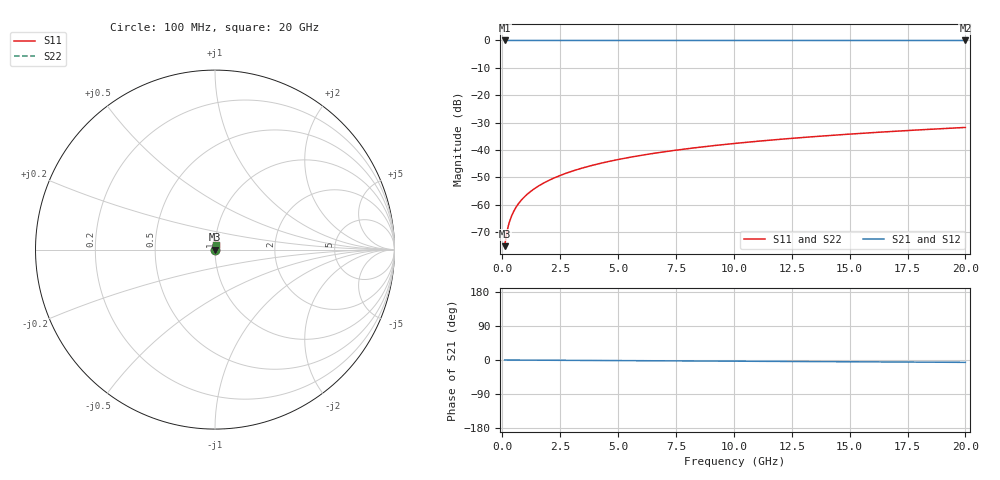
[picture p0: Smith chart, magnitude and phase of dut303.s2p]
! Touchstone file exported from HFSS 2026.1.0
!  File:  C:/ffzhzh/LocalFiles/Ansys_Project_Files/temp_train_TSV_303_1783017904_55676.aedt
!  Generated:  02:46:50 AM Jul  3, 2026
!  Design:  TSV
!  Project:  temp_train_TSV_303_1783017904_55676
! Variables:
!  h_bsmrdl = 2um
!  h_ox = 20um
!  h_rdl = 5um
!  h_sub = 52.73um
!  h_tmrdl = 5um
!  h_tsv = 52.73um
!  h_via = 3um
!  l_bsmrdl = 300um
!  l_sub = 422.56um
!  l_tmrdl = 200um
!  m_sub = 200um
!  pitch = 58.5um
!  r_tsv = 11.28um
!  s_tmrdl = 10um
!  w_bsmrdl = 18um
!  w_sub = 500um
!  w_tmrdl = 12um
!  x_tsv_center1 = 206um
!  x_tsv_center2 = 524um
!  x_tsv_center3 = 736um
!  x_tsv_center4 = 1054um
!  x_tsv_center5 = 1266um
!  x_tsv_center6 = 1584um
# GHz S MA R 50.000000
! Terminal data exported
! Port[1] = TSV1_1_T1
! Port[2] = TSV1_1_T2
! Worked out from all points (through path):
!   200 points, 100 MHz to 20 GHz, reference 50 ohm
!   highest |S21| = 0.00 dB at 100 MHz (marker M1); lowest = 0.0 dB at 20 GHz (marker M2)
!   lowest |S11| = -75.1 dB at 100 MHz (marker M3), VSWR 1.00, Z = 50 + j0.0158 ohm
!   |S11| at or under -10 dB: start of sweep to end of sweep
!   |S22| runs from -75.1 to -31.8 dB; largest |S21 - S12| = 4.2e-15
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0.1  0.0001759 63.7  0.9999 -0.0  0.9999 -0.0  0.0001759 63.7
! Gamma 0 0 0 0
! Port Impedance 50 0 50 0
0.2  0.000325 74.6  0.9999 -0.1  0.9999 -0.1  0.000325 74.6
0.3  0.0004762 78.1  0.9999 -0.1  0.9999 -0.1  0.0004762 78.1
0.4  0.0006249 79.5  0.9999 -0.1  0.9999 -0.1  0.0006249 79.5
0.5  0.0007701 80.3  0.9999 -0.2  0.9999 -0.2  0.0007701 80.3
0.6  0.0009121 80.8  0.9999 -0.2  0.9999 -0.2  0.0009121 80.8
0.7  0.001051 81.2  0.9998 -0.2  0.9998 -0.2  0.001051 81.2
0.9  0.001323 81.7  0.9998 -0.3  0.9998 -0.3  0.001323 81.7
1.1  0.001591 82.2  0.9998 -0.3  0.9998 -0.3  0.001591 82.2
1.3  0.001855 82.7  0.9998 -0.4  0.9998 -0.4  0.001855 82.7
1.6  0.002251 83.3  0.9998 -0.5  0.9998 -0.5  0.002251 83.3
1.9  0.002646 83.7  0.9997 -0.6  0.9997 -0.6  0.002646 83.7
2.6  0.003567 84.4  0.9997 -0.8  0.9997 -0.8  0.003567 84.4
3.5  0.004749 84.8  0.9996 -1.1  0.9996 -1.1  0.004749 84.8
4.2  0.005665 84.9  0.9996 -1.3  0.9996 -1.3  0.005665 84.9
5  0.006707 85.0  0.9996 -1.6  0.9996 -1.6  0.006707 85.0
6.8  0.009036 84.8  0.9995 -2.1  0.9995 -2.1  0.009036 84.8
8.3  0.01097 84.6  0.9994 -2.6  0.9994 -2.6  0.01097 84.6
10.1  0.01327 84.3  0.9993 -3.1  0.9993 -3.1  0.01327 84.3
13.4  0.01749 83.7  0.9992 -4.2  0.9992 -4.2  0.01749 83.7
16.7  0.02168 82.8  0.999 -5.2  0.999 -5.2  0.02168 82.8
20  0.02584 82.0  0.9988 -6.2  0.9988 -6.2  0.02584 82.0
